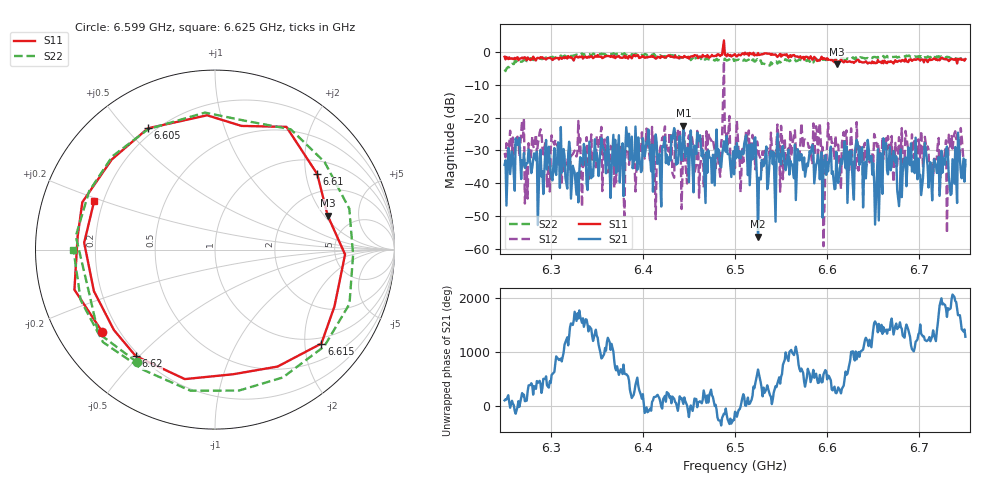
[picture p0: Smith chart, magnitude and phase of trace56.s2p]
# Hz S RI R 50
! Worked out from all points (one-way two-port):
!   401 points, 6.25 GHz to 6.75 GHz, reference 50 ohm
!   highest |S21| = -22.42 dB at 6.444 GHz (marker M1); lowest = -56.4 dB at 6.525 GHz (marker M2)
!   lowest |S11| = -3.7 dB at 6.611 GHz (marker M3), VSWR 4.81, Z = 164 + j109 ohm
!   |S11| at or under -10 dB: nowhere
!   |S22| runs from -5.7 to -0.3 dB; largest |S21 - S12| = 0.69
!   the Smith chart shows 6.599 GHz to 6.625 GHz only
!   S11 on the Smith chart (normalised r, x): 6.599 GHz: 0.14, -0.32; 6.605 GHz: 0.17, +0.58; 6.61 GHz: 1.38, +2.32; 6.615 GHz: 0.85, -2.38; 6.62 GHz: 0.19, -0.49; 6.625 GHz: 0.16, +0.19
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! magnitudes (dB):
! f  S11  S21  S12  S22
! 6.25 GHz  -1.3  -34.4  -30.8  -5.2
! 6.334 GHz  -1.3  -32.9  -47.2  -0.4
! 6.385 GHz  -1.1  -24.9  -34.4  -0.4
! 6.418 GHz  -1.5  -31.1  -31.2  -1.0
! 6.444 GHz  -1.5  -22.4  -26.2  -1.6
! 6.481 GHz  -0.6  -31.8  -30.2  -2.4
! 6.489 GHz  -0.7  -29.1  -25.6  -1.9
! 6.5 GHz  -0.6  -28.8  -35.4  -2.4
! 6.52 GHz  -0.1  -32.4  -26.2  -2.1
! 6.525 GHz  -0.2  -56.4  -28.9  -2.7
! 6.584 GHz  -2.3  -28.3  -34.3  -2.7
! 6.599 GHz  -2.2  -37.5  -33.4  -2.3
! 6.605 GHz  -2.2  -37.1  -27.7  -2.2
! 6.61 GHz  -3.0  -30.4  -29.1  -2.0
! 6.611 GHz  -3.7  -38.2  -28.5  -2.1
! 6.615 GHz  -2.0  -32.7  -41.9  -1.9
! 6.62 GHz  -2.6  -35.4  -25.2  -2.0
! 6.625 GHz  -2.8  -34.2  -28.9  -2.1
! 6.668 GHz  -2.9  -28.9  -29.6  -1.4
! 6.729 GHz  -2.0  -29.9  -26.9  -1.5
! 6.74 GHz  -2.2  -38.4  -26.5  -1.9
! 6.75 GHz  -2.0  -32.9  -34.0  -2.4
